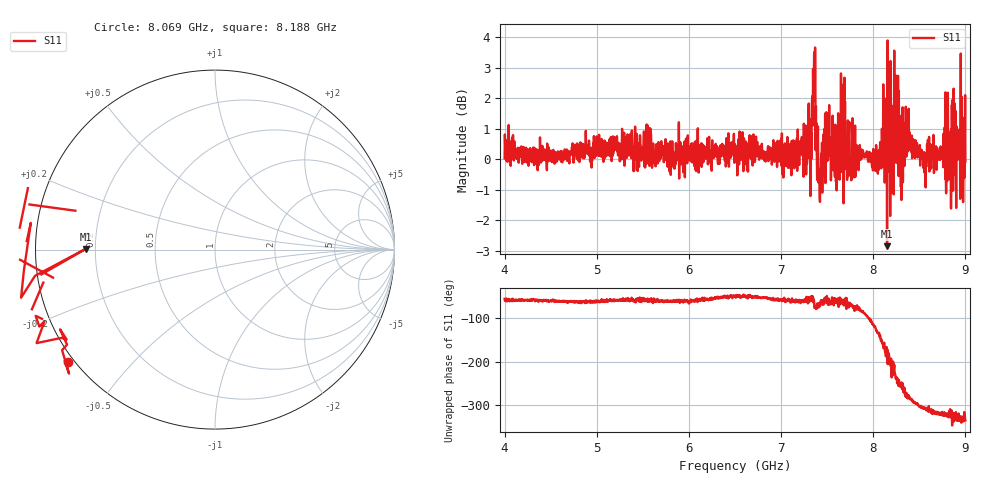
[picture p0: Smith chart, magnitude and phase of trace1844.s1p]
! Created with skrf 1.8.0 (http://scikit-rf.org).
# Hz S RI R 50.0
!freq ReS11 ImS11
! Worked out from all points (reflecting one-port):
!   1601 points, 4 GHz to 9 GHz, reference 50 ohm
!   lowest |S11| = -2.8 dB at 8.15 GHz (marker M1), VSWR 6.15, Z = 8.12 + j0.133 ohm
!   phase of S11 starts at -54 deg and turns -282 deg over the sweep
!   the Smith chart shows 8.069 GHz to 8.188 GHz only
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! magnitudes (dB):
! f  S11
! 4 GHz  0.0
! 4.625 GHz  -0.1
! 5.25 GHz  -0.1
! 5.875 GHz  0.5
! 6.5 GHz  0.3
! 7.125 GHz  0.1
! 7.297 GHz  1.3
! 7.359 GHz  3.5
! 7.381 GHz  0.4
! 7.4 GHz  1.1
! 7.416 GHz  -0.8
! 7.512 GHz  1.3
! 7.609 GHz  0.3
! 7.631 GHz  0.5
! 7.662 GHz  -0.4
! 7.75 GHz  0.0
! 8.034 GHz  0.3
! 8.15 GHz  -2.8
! 8.209 GHz  1.3
! 8.253 GHz  1.1
! 8.312 GHz  1.2
! 8.375 GHz  1.0
! 8.553 GHz  0.2
! 8.788 GHz  -0.6
! 8.844 GHz  -1.6
! 8.872 GHz  2.3
! 8.972 GHz  0.5
! 9 GHz  -0.1
